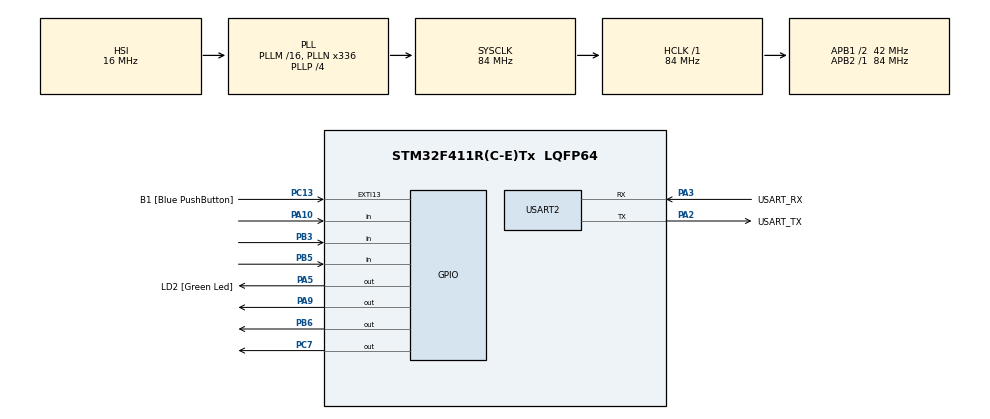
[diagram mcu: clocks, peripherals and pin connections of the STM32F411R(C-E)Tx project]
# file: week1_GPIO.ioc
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Mcu.Family=STM32F4
Mcu.Name=STM32F411R(C-E)Tx
Mcu.Package=LQFP64
NVIC.PriorityGroup=NVIC_PRIORITYGROUP_0
PA10.Signal=GPIO_Input
PA13.GPIO_Label=TMS
PA13.Mode=Serial_Wire
PA13.Signal=SYS_JTMS-SWDIO
PA14.GPIO_Label=TCK
PA14.Mode=Serial_Wire
PA14.Signal=SYS_JTCK-SWCLK
PA2.GPIO_Label=USART_TX
PA2.Mode=Asynchronous
PA2.Signal=USART2_TX
PA3.GPIO_Label=USART_RX
PA3.Mode=Asynchronous
PA3.Signal=USART2_RX
PA5.GPIO_Label=LD2 [Green Led]
PA5.Signal=GPIO_Output
PA9.Signal=GPIO_Output
PB3.Signal=GPIO_Input
PB5.Signal=GPIO_Input
PB6.Signal=GPIO_Output
PC13-ANTI_TAMP.GPIO_Label=B1 [Blue PushButton]
PC13-ANTI_TAMP.GPIO_ModeDefaultEXTI=GPIO_MODE_IT_FALLING
PC13-ANTI_TAMP.Signal=GPXTI13
PC14-OSC32_IN.Mode=LSE-External-Oscillator
PC14-OSC32_IN.Signal=RCC_OSC32_IN
PC15-OSC32_OUT.Mode=LSE-External-Oscillator
PC15-OSC32_OUT.Signal=RCC_OSC32_OUT
PC7.Signal=GPIO_Output
PH0\ -\ OSC_IN.Mode=HSE-External-Clock-Source
PH0\ -\ OSC_IN.Signal=RCC_OSC_IN
PH1\ -\ OSC_OUT.Mode=HSE-External-Clock-Source
PH1\ -\ OSC_OUT.Signal=RCC_OSC_OUT
ProjectManager.HeapSize=0x200
ProjectManager.StackSize=0x400
ProjectManager.TargetToolchain=STM32CubeIDE
RCC.48MHZClocksFreq_Value=84000000
RCC.AHBFreq_Value=84000000
RCC.APB1CLKDivider=RCC_HCLK_DIV2
RCC.APB1Freq_Value=42000000
RCC.APB1TimFreq_Value=84000000
RCC.APB2Freq_Value=84000000
RCC.APB2TimFreq_Value=84000000
RCC.CortexFreq_Value=84000000
RCC.FLatency-AdvancedSettings=FLASH_LATENCY_2
RCC.HCLKFreq_Value=84000000
RCC.HSE_VALUE=8000000
RCC.HSI_VALUE=16000000
RCC.PLLN=336
RCC.PLLP=RCC_PLLP_DIV4
RCC.SYSCLKFreq_VALUE=84000000
RCC.SYSCLKSource=RCC_SYSCLKSOURCE_PLLCLK
RCC.VCOOutputFreq_Value=336000000
USART2.VirtualMode=VM_ASYNC
board=NUCLEO-F411RE

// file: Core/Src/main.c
/* USER CODE BEGIN Header */
/**
  ******************************************************************************
  * @file           : main.c
  * @brief          : Main program body
  ******************************************************************************
  * @attention
  *
  * <h2><center>&copy; Copyright (c) 2021 STMicroelectronics.
  * All rights reserved.</center></h2>
  *
  * This software component is licensed by ST under BSD 3-Clause license,
  * the "License"; You may not use this file except in compliance with the
  * License. You may obtain a copy of the License at:
  *                        opensource.org/licenses/BSD-3-Clause
  *
  ******************************************************************************
  */
/* USER CODE END Header */
#include "main.h"

UART_HandleTypeDef huart2;

void SystemClock_Config(void);
static void MX_GPIO_Init(void);
static void MX_USART2_UART_Init(void);

int main(void)
{

  /* MCU Configuration--------------------------------------------------------*/

  /* Reset of all peripherals, Initializes the Flash interface and the Systick. */
  HAL_Init();

  /* Configure the system clock */
  SystemClock_Config();

  /* Initialize all configured peripherals */
  MX_GPIO_Init();
  MX_USART2_UART_Init();
  /* USER CODE BEGIN 2 */
  GPIO_PinState SwitchState[2]; //Now,Last
  GPIO_PinState S2[2];
  GPIO_PinState S3[2];
  uint16_t LED1_half = 1000 ;
  uint32_t Timestamp = 0 ;
  uint32_t Timestamp2 = 0;
  uint32_t BottonTimeStamp = 0;
  uint32_t on = 1;
  uint16_t Savagemode = 0;
  /* USER CODE END 2 */

  /* Infinite loop */
  while (1)
  {

    /* USER CODE BEGIN 3 */
	  if (HAL_GetTick() - BottonTimeStamp >= 100) //ms
	  {
			  //Press is low
		  //from high to low, switch is press
		  SwitchState[0] = HAL_GPIO_ReadPin(GPIOA, GPIO_PIN_10);
		  S2[0] = HAL_GPIO_ReadPin(GPIOB, GPIO_PIN_3);
		  S3[0] = HAL_GPIO_ReadPin(GPIOB, GPIO_PIN_5);
		  if (S3[1]== GPIO_PIN_SET && S3[0]== GPIO_PIN_RESET)
		  {
			  if(Savagemode == 1)
				  {
					  Savagemode = 0 ;
				  }
				  else
				  {
					  Savagemode = 1 ;
				  }
		  }
		  if (S2[1]== GPIO_PIN_SET && S2[0]== GPIO_PIN_RESET)
		  {
			  if(on == 1)
			  {
				  HAL_GPIO_WritePin(GPIOC, GPIO_PIN_7,0);
				  on = 0;
			  }
			  else
			  {
				  HAL_GPIO_WritePin(GPIOC, GPIO_PIN_7,1);
				  on = 1;
			  }
		  }
		  if(SwitchState[1]== GPIO_PIN_SET && SwitchState[0]== GPIO_PIN_RESET)
		  {
			  //change half frequency LED1
			  if (LED1_half == 1000)
			  {
				  LED1_half = 500;
			  }
			  else if (LED1_half == 500)
			  {
				  LED1_half = 250;
			  }
			  else if (LED1_half == 250)
			  {
				  LED1_half = 1000/6;
			  }
			  else
			  {
				  LED1_half = 1000;
			  }
		  }
		  SwitchState[1] = SwitchState[0] ;
		  S2[1] = S2[0];
		  S3[1] = S3[0];
	  }

//	  if (HAL_GPIO_ReadPin(GPIOA, GPIO_PIN_9) == GPIO_PIN_SET)
//	  {
//
//	  }
	  //Run LED
	  if(Savagemode == 0)
	  {
		  if(HAL_GetTick() - Timestamp2 >= 500)
			 {
			  	  if(HAL_GPIO_ReadPin(GPIOB, GPIO_PIN_6) == 0)
				  {
					  HAL_GPIO_WritePin(GPIOB, GPIO_PIN_6,1);
					  Timestamp2 = HAL_GetTick();
				  }
			  }
		  if(HAL_GetTick() - Timestamp2 >= 1500)
				 {
					  if(HAL_GPIO_ReadPin(GPIOB, GPIO_PIN_6) == 1)
						  {
							  HAL_GPIO_WritePin(GPIOB, GPIO_PIN_6,0);
							  Timestamp2 = HAL_GetTick();
						  }
				  }
	  }
	  if(Savagemode == 1)
	  {
		  if(HAL_GetTick() - Timestamp2 >= 1500)
			 {
				  if(HAL_GPIO_ReadPin(GPIOB, GPIO_PIN_6) == 0)
				  {
					  HAL_GPIO_WritePin(GPIOB, GPIO_PIN_6,1);
					  Timestamp2 = HAL_GetTick();
				  }

			  }
		  if(HAL_GetTick() - Timestamp2 >= 500)
				 {
					  if(HAL_GPIO_ReadPin(GPIOB, GPIO_PIN_6) == 1)
						  {
							  HAL_GPIO_WritePin(GPIOB, GPIO_PIN_6,0);
							  Timestamp2 = HAL_GetTick();
						  }

				  }
	  }
	 if(HAL_GetTick() - Timestamp >= LED1_half)
	 {
		  Timestamp = HAL_GetTick();
		  if(HAL_GPIO_ReadPin(GPIOA, GPIO_PIN_9) == GPIO_PIN_SET)
		  {
			  HAL_GPIO_WritePin(GPIOA, GPIO_PIN_9,GPIO_PIN_RESET);
		  }
		  else
		  {
			  HAL_GPIO_WritePin(GPIOA, GPIO_PIN_9,GPIO_PIN_SET);
		  }
	  }

  }
  /* USER CODE END 3 */
}

void SystemClock_Config(void)
{
  RCC_OscInitTypeDef RCC_OscInitStruct = {0};
  RCC_ClkInitTypeDef RCC_ClkInitStruct = {0};

  /** Configure the main internal regulator output voltage
  */
  __HAL_RCC_PWR_CLK_ENABLE();
  __HAL_PWR_VOLTAGESCALING_CONFIG(PWR_REGULATOR_VOLTAGE_SCALE1);
  /** Initializes the RCC Oscillators according to the specified parameters
  * in the RCC_OscInitTypeDef structure.
  */
  RCC_OscInitStruct.OscillatorType = RCC_OSCILLATORTYPE_HSI;
  RCC_OscInitStruct.HSIState = RCC_HSI_ON;
  RCC_OscInitStruct.HSICalibrationValue = RCC_HSICALIBRATION_DEFAULT;
  RCC_OscInitStruct.PLL.PLLState = RCC_PLL_ON;
  RCC_OscInitStruct.PLL.PLLSource = RCC_PLLSOURCE_HSI;
  RCC_OscInitStruct.PLL.PLLM = 16;
  RCC_OscInitStruct.PLL.PLLN = 336;
  RCC_OscInitStruct.PLL.PLLP = RCC_PLLP_DIV4;
  RCC_OscInitStruct.PLL.PLLQ = 4;
  if (HAL_RCC_OscConfig(&RCC_OscInitStruct) != HAL_OK)
  {
    Error_Handler();
  }
  /** Initializes the CPU, AHB and APB buses clocks
  */
  RCC_ClkInitStruct.ClockType = RCC_CLOCKTYPE_HCLK|RCC_CLOCKTYPE_SYSCLK
                              |RCC_CLOCKTYPE_PCLK1|RCC_CLOCKTYPE_PCLK2;
  RCC_ClkInitStruct.SYSCLKSource = RCC_SYSCLKSOURCE_PLLCLK;
  RCC_ClkInitStruct.AHBCLKDivider = RCC_SYSCLK_DIV1;
  RCC_ClkInitStruct.APB1CLKDivider = RCC_HCLK_DIV2;
  RCC_ClkInitStruct.APB2CLKDivider = RCC_HCLK_DIV1;

  if (HAL_RCC_ClockConfig(&RCC_ClkInitStruct, FLASH_LATENCY_2) != HAL_OK)
  {
    Error_Handler();
  }
}

static void MX_USART2_UART_Init(void)
{

  huart2.Instance = USART2;
  huart2.Init.BaudRate = 115200;
  huart2.Init.WordLength = UART_WORDLENGTH_8B;
  huart2.Init.StopBits = UART_STOPBITS_1;
  huart2.Init.Parity = UART_PARITY_NONE;
  huart2.Init.Mode = UART_MODE_TX_RX;
  huart2.Init.HwFlowCtl = UART_HWCONTROL_NONE;
  huart2.Init.OverSampling = UART_OVERSAMPLING_16;
  if (HAL_UART_Init(&huart2) != HAL_OK)
  {
    Error_Handler();
  }

}

static void MX_GPIO_Init(void)
{
  GPIO_InitTypeDef GPIO_InitStruct = {0};

  /* GPIO Ports Clock Enable */
  __HAL_RCC_GPIOC_CLK_ENABLE();
  __HAL_RCC_GPIOH_CLK_ENABLE();
  __HAL_RCC_GPIOA_CLK_ENABLE();
  __HAL_RCC_GPIOB_CLK_ENABLE();

  /*Configure GPIO pin Output Level */
  HAL_GPIO_WritePin(GPIOA, LD2_Pin|GPIO_PIN_9, GPIO_PIN_RESET);

  /*Configure GPIO pin Output Level */
  HAL_GPIO_WritePin(GPIOC, GPIO_PIN_7, GPIO_PIN_RESET);

  /*Configure GPIO pin Output Level */
  HAL_GPIO_WritePin(GPIOB, GPIO_PIN_6, GPIO_PIN_RESET);

  /*Configure GPIO pin : B1_Pin */
  GPIO_InitStruct.Pin = B1_Pin;
  GPIO_InitStruct.Mode = GPIO_MODE_IT_FALLING;
  GPIO_InitStruct.Pull = GPIO_NOPULL;
  HAL_GPIO_Init(B1_GPIO_Port, &GPIO_InitStruct);

  /*Configure GPIO pins : LD2_Pin PA9 */
  GPIO_InitStruct.Pin = LD2_Pin|GPIO_PIN_9;
  GPIO_InitStruct.Mode = GPIO_MODE_OUTPUT_PP;
  GPIO_InitStruct.Pull = GPIO_NOPULL;
  GPIO_InitStruct.Speed = GPIO_SPEED_FREQ_LOW;
  HAL_GPIO_Init(GPIOA, &GPIO_InitStruct);

  /*Configure GPIO pin : PC7 */
  GPIO_InitStruct.Pin = GPIO_PIN_7;
  GPIO_InitStruct.Mode = GPIO_MODE_OUTPUT_PP;
  GPIO_InitStruct.Pull = GPIO_NOPULL;
  GPIO_InitStruct.Speed = GPIO_SPEED_FREQ_LOW;
  HAL_GPIO_Init(GPIOC, &GPIO_InitStruct);

  /*Configure GPIO pin : PA10 */
  GPIO_InitStruct.Pin = GPIO_PIN_10;
  GPIO_InitStruct.Mode = GPIO_MODE_INPUT;
  GPIO_InitStruct.Pull = GPIO_NOPULL;
  HAL_GPIO_Init(GPIOA, &GPIO_InitStruct);

  /*Configure GPIO pins : PB3 PB5 */
  GPIO_InitStruct.Pin = GPIO_PIN_3|GPIO_PIN_5;
  GPIO_InitStruct.Mode = GPIO_MODE_INPUT;
  GPIO_InitStruct.Pull = GPIO_NOPULL;
  HAL_GPIO_Init(GPIOB, &GPIO_InitStruct);

  /*Configure GPIO pin : PB6 */
  GPIO_InitStruct.Pin = GPIO_PIN_6;
  GPIO_InitStruct.Mode = GPIO_MODE_OUTPUT_PP;
  GPIO_InitStruct.Pull = GPIO_NOPULL;
  GPIO_InitStruct.Speed = GPIO_SPEED_FREQ_LOW;
  HAL_GPIO_Init(GPIOB, &GPIO_InitStruct);

}

void Error_Handler(void)
{
  __disable_irq();
  while (1)
  {
  }
}

/************************ (C) COPYRIGHT STMicroelectronics *****END OF FILE****/
